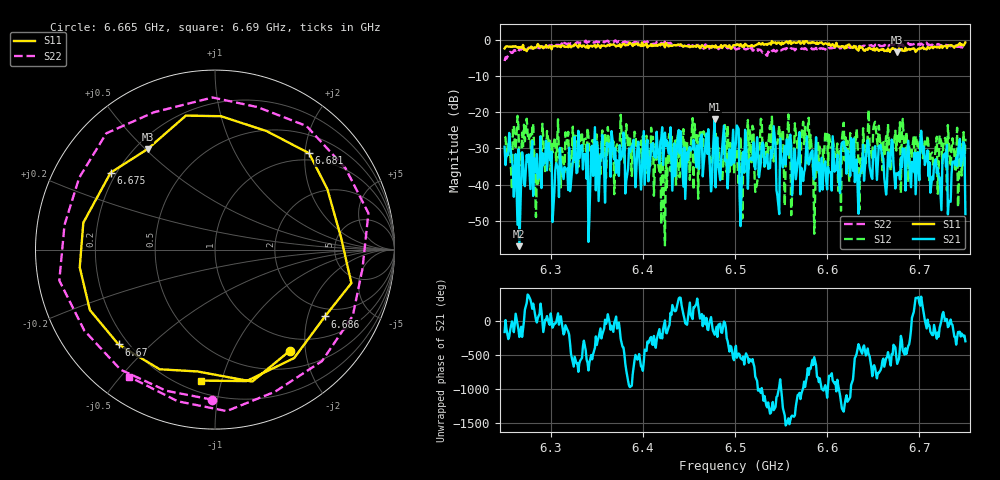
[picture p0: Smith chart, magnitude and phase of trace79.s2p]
# Hz S RI R 50
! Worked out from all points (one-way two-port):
!   401 points, 6.25 GHz to 6.75 GHz, reference 50 ohm
!   highest |S21| = -21.84 dB at 6.478 GHz (marker M1); lowest = -57.1 dB at 6.266 GHz (marker M2)
!   lowest |S11| = -3.4 dB at 6.676 GHz (marker M3), VSWR 5.14, Z = 12.4 + j25.4 ohm
!   |S11| at or under -10 dB: nowhere
!   |S22| runs from -5.8 to -0.1 dB; largest |S21 - S12| = 0.14
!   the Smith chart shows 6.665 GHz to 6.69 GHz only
!   S11 on the Smith chart (normalised r, x): 6.665 GHz: 0.77, -1.71; 6.67 GHz: 0.16, -0.40; 6.675 GHz: 0.18, +0.32; 6.681 GHz: 0.85, +2.09; 6.686 GHz: 1.68, -2.58; 6.69 GHz: 0.27, -0.86
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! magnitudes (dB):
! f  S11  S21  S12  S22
! 6.25 GHz  -2.3  -29.5  -26.8  -5.8
! 6.266 GHz  -2.2  -57.1  -34.9  -2.5
! 6.285 GHz  -1.7  -31.6  -36.7  -2.2
! 6.334 GHz  -1.9  -29.1  -26.1  -0.8
! 6.34 GHz  -1.5  -28.9  -24.2  -0.6
! 6.418 GHz  -1.2  -34.2  -36.3  -0.9
! 6.478 GHz  -2.0  -21.8  -30.1  -2.0
! 6.5 GHz  -1.4  -30.5  -32.2  -2.4
! 6.508 GHz  -1.9  -32.9  -49.4  -2.4
! 6.55 GHz  -1.3  -32.8  -27.3  -2.9
! 6.584 GHz  -0.6  -30.5  -32.7  -2.6
! 6.665 GHz  -3.1  -39.5  -31.0  -1.6
! 6.668 GHz  -3.3  -35.0  -33.9  -1.4
! 6.67 GHz  -2.5  -27.6  -31.6  -1.1
! 6.675 GHz  -2.8  -36.9  -30.6  -1.5
! 6.676 GHz  -3.4  -37.3  -26.0  -1.4
! 6.681 GHz  -2.5  -35.2  -26.2  -1.1
! 6.686 GHz  -2.9  -34.7  -25.4  -1.3
! 6.69 GHz  -2.7  -37.3  -37.8  -1.4
! 6.734 GHz  -1.4  -44.8  -35.1  -1.7
! 6.746 GHz  -1.2  -33.5  -37.5  -1.9
! 6.75 GHz  -0.7  -48.2  -27.3  -2.2
